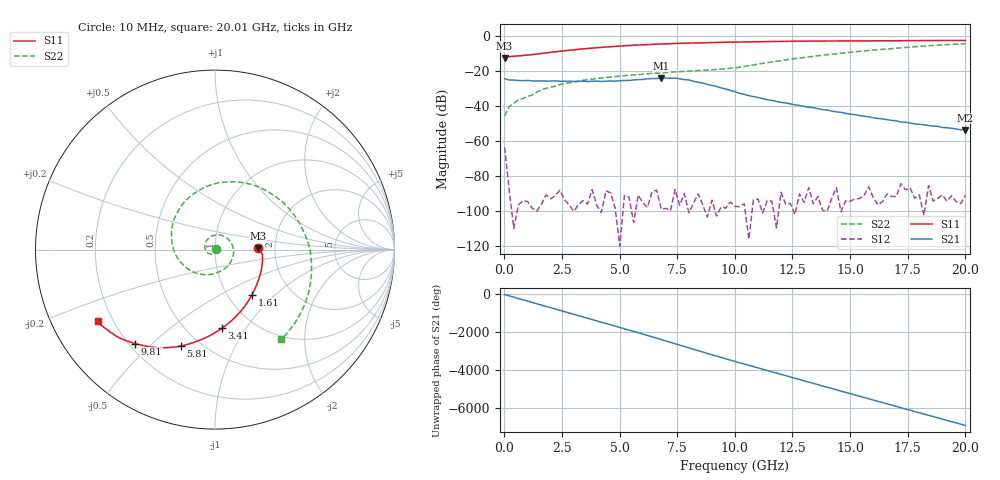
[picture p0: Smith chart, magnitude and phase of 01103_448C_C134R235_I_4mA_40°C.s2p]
!;Filter: kein Filter
!auto
!3/21/2019 9:25:24 AM
!3/21/2019 9:25:40 AM
!SP-Measurements Prober G4
!SP-Measurements Prober G4
!01103_448C
!134
!235
!12
!40
!-20
!0.00399976
!1.88
!0.54220246
!0.54220246
# Hz S  RI  R 50
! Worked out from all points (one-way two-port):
!   101 points, 10 MHz to 20.01 GHz, reference 50 ohm
!   highest |S21| = -23.75 dB at 6.81 GHz (marker M1); lowest = -53.5 dB at 20.01 GHz (marker M2)
!   lowest |S11| = -12.4 dB at 10 MHz (marker M3), VSWR 1.63, Z = 81.4 + j1.61 ohm
!   |S11| at or under -10 dB: start of sweep to 1.452 GHz
!   |S22| runs from -45.6 to -4.1 dB; largest |S21 - S12| = 0.065
!   S11 on the Smith chart (normalised r, x): 10 MHz: 1.63, +0.03; 1.61 GHz: 1.29, -0.73; 3.41 GHz: 0.72, -0.79; 5.81 GHz: 0.40, -0.63; 9.81 GHz: 0.22, -0.44; 20.01 GHz: 0.14, -0.27
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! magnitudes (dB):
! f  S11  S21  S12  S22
! 10 MHz  -12.4  -24.2  -63.5  -45.6
! 210 MHz  -11.5  -24.9  -88.1  -40.2
! 610 MHz  -11.1  -25.2  -96.4  -36.3
! 1.21 GHz  -10.4  -25.4  -98.4  -33.5
! 1.61 GHz  -9.7  -25.4  -96.0  -30.5
! 2.61 GHz  -8.2  -25.6  -93.4  -26.9
! 3.41 GHz  -7.1  -25.6  -93.9  -25.1
! 4.81 GHz  -5.7  -25.6  -98.4  -23.0
! 5.81 GHz  -4.9  -24.7  -90.9  -21.9
! 6.81 GHz  -4.3  -23.7  -98.9  -20.9
! 7.41 GHz  -4.0  -23.8  -87.7  -20.3
! 8.01 GHz  -3.8  -24.9  -100.9  -19.8
! 8.61 GHz  -3.6  -26.6  -96.3  -19.4
! 9.81 GHz  -3.3  -30.9  -94.8  -18.2
! 10.01 GHz  -3.2  -31.6  -97.3  -17.9
! 10.61 GHz  -3.1  -33.9  -116.1  -16.7
! 11.41 GHz  -2.9  -36.2  -93.9  -15.0
! 13.41 GHz  -2.7  -40.8  -95.8  -11.4
! 15.01 GHz  -2.5  -44.5  -94.4  -9.1
! 16.81 GHz  -2.4  -48.1  -91.6  -7.0
! 17.81 GHz  -2.4  -50.1  -92.7  -5.9
! 20.01 GHz  -2.3  -53.5  -91.0  -4.1
